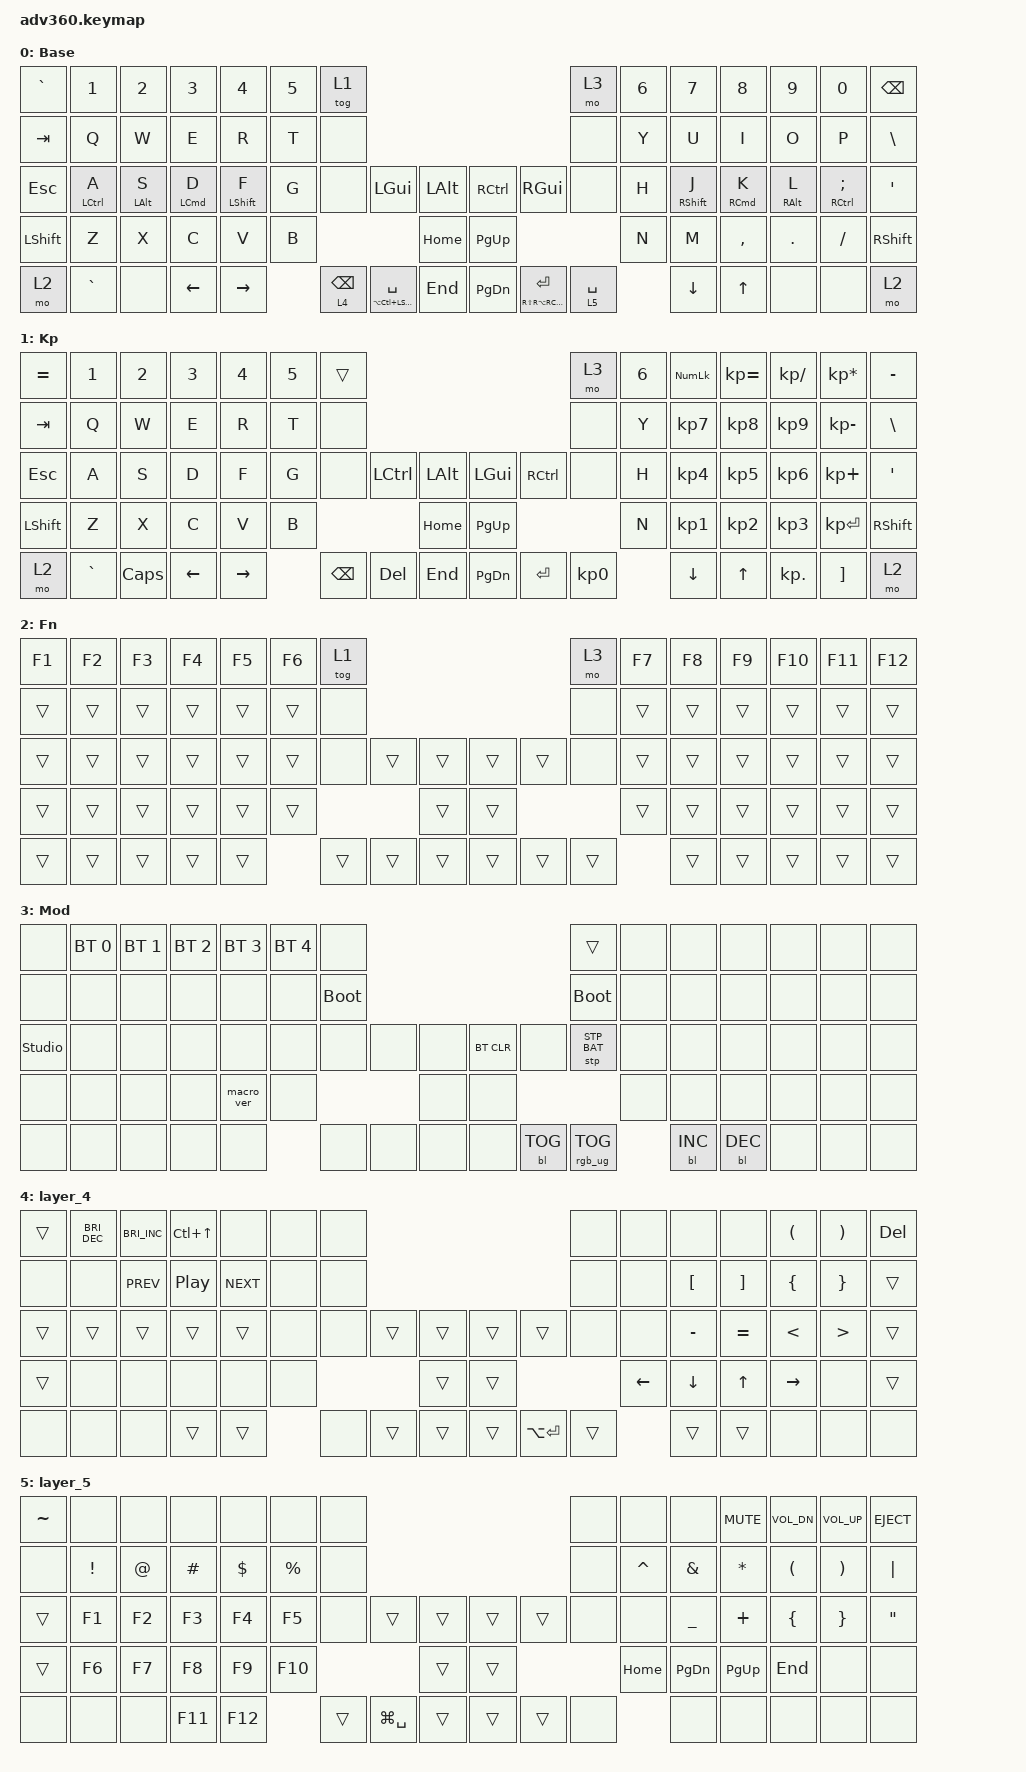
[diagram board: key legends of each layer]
#include <dt-bindings/zmk/stp.h>
#include <behaviors.dtsi>
#include <dt-bindings/zmk/backlight.h>
#include <dt-bindings/zmk/bt.h>
#include <dt-bindings/zmk/keys.h>
#include <dt-bindings/zmk/rgb.h>

/ {
    behaviors {
        #include "macros.dtsi"
      #include "version.dtsi"

        hm: homerow_mods {
            compatible = "zmk,behavior-hold-tap";
            label = "HOMEROW_MODS";
            #binding-cells = <2>;
            tapping-term-ms = <200>;
            quick_tap_ms = <175>;
            flavor = "tap-preferred";
            bindings = <&kp>, <&kp>;
        };
    };

    keymap {
        compatible = "zmk,keymap";

        default_layer {
            display-name = "Base";
            bindings = <
&kp GRAVE  &kp N1       &kp N2          &kp N3              &kp N4            &kp N5  &tog 1                                                                                                   &mo 3        &kp N6  &kp N7             &kp N8               &kp N9           &kp N0          &kp BACKSPACE
&kp TAB    &kp Q        &kp W           &kp E               &kp R             &kp T   &none                                                                                                    &none        &kp Y   &kp U              &kp I                &kp O            &kp P           &kp BSLH
&kp ESC    &hm LCTRL A  &hm LEFT_ALT S  &hm LEFT_COMMAND D  &hm LEFT_SHIFT F  &kp G   &none            &kp LGUI                      &kp LALT      &kp RCTRL  &kp RGUI                         &none        &kp H   &hm RIGHT_SHIFT J  &hm RIGHT_COMMAND K  &hm RIGHT_ALT L  &hm RCTRL SEMI  &kp SQT
&kp LSHFT  &kp Z        &kp X           &kp C               &kp V             &kp B                                                  &kp HOME      &kp PG_UP                                                &kp N   &kp M              &kp COMMA            &kp DOT          &kp FSLH        &kp RSHFT
&mo 2      &kp GRAVE    &none           &kp LEFT            &kp RIGHT                 &lt 4 BACKSPACE  &mt LA(LC(LEFT_SHIFT)) SPACE  &kp END       &kp PG_DN  &mt RS(RA(RC(RIGHT_GUI))) ENTER  &lt 5 SPACE          &kp DOWN           &kp UP_ARROW         &none            &none           &mo 2
            >;
        };

        keypad {
            display-name = "Kp";
            bindings = <
&kp EQUAL  &kp N1     &kp N2    &kp N3    &kp N4     &kp N5  &trans                                                   &mo 3      &kp N6  &kp KP_NUM  &kp KP_EQUAL  &kp KP_DIVIDE  &kp KP_MULTIPLY  &kp MINUS
&kp TAB    &kp Q      &kp W     &kp E     &kp R      &kp T   &none                                                    &none      &kp Y   &kp KP_N7   &kp KP_N8     &kp KP_N9      &kp KP_MINUS     &kp BSLH
&kp ESC    &kp A      &kp S     &kp D     &kp F      &kp G   &none     &kp LCTRL  &kp LALT      &kp LGUI   &kp RCTRL  &none      &kp H   &kp KP_N4   &kp KP_N5     &kp KP_N6      &kp KP_PLUS      &kp SQT
&kp LSHFT  &kp Z      &kp X     &kp C     &kp V      &kp B                        &kp HOME      &kp PG_UP                        &kp N   &kp KP_N1   &kp KP_N2     &kp KP_N3      &kp KP_ENTER     &kp RSHFT
&mo 2      &kp GRAVE  &kp CAPS  &kp LEFT  &kp RIGHT          &kp BSPC  &kp DEL    &kp END       &kp PG_DN  &kp ENTER  &kp KP_N0          &kp DOWN    &kp UP_ARROW  &kp KP_DOT     &kp RBKT         &mo 2
            >;
        };

        fn {
            display-name = "Fn";
            bindings = <
&kp F1  &kp F2  &kp F3  &kp F4  &kp F5  &kp F6  &tog 1                                      &mo 3   &kp F7  &kp F8  &kp F9  &kp F10  &kp F11  &kp F12
&trans  &trans  &trans  &trans  &trans  &trans  &none                                       &none   &trans  &trans  &trans  &trans   &trans   &trans
&trans  &trans  &trans  &trans  &trans  &trans  &none   &trans  &trans      &trans  &trans  &none   &trans  &trans  &trans  &trans   &trans   &trans
&trans  &trans  &trans  &trans  &trans  &trans                  &trans      &trans                  &trans  &trans  &trans  &trans   &trans   &trans
&trans  &trans  &trans  &trans  &trans          &trans  &trans  &trans      &trans  &trans  &trans          &trans  &trans  &trans   &trans   &trans
            >;
        };

        mod {
            display-name = "Mod";
            bindings = <
&none           &bt BT_SEL 0  &bt BT_SEL 1  &bt BT_SEL 2  &bt BT_SEL 3  &bt BT_SEL 4  &none                                                  &trans           &none  &none       &none       &none  &none  &none
&none           &none         &none         &none         &none         &none         &bootloader                                            &bootloader      &none  &none       &none       &none  &none  &none
&studio_unlock  &none         &none         &none         &none         &none         &none        &none  &none      &bt BT_CLR  &none       &stp STP_BAT     &none  &none       &none       &none  &none  &none
&none           &none         &none         &none         &macro_ver    &none                             &none      &none                                    &none  &none       &none       &none  &none  &none
&none           &none         &none         &none         &none                       &none        &none  &none      &none       &bl BL_TOG  &rgb_ug RGB_TOG         &bl BL_INC  &bl BL_DEC  &none  &none  &none
            >;
        };

        layer_4 {
            bindings = <
&trans  &kp C_BRI_DEC  &kp C_BRI_INC  &kp LC(UP_ARROW)  &none       &none  &none                                           &none   &none     &none             &none              &kp LPAR         &kp RPAR          &kp DEL
&none   &none          &kp C_PREV     &kp C_PLAY_PAUSE  &kp C_NEXT  &none  &none                                           &none   &none     &kp LEFT_BRACKET  &kp RIGHT_BRACKET  &kp LEFT_BRACE   &kp RIGHT_BRACE   &trans
&trans  &trans         &trans         &trans            &trans      &none  &none  &trans  &trans      &trans  &trans       &none   &none     &kp MINUS         &kp EQUAL          &kp LESS_THAN    &kp GREATER_THAN  &trans
&trans  &none          &none          &none             &none       &none                 &trans      &trans                       &kp LEFT  &kp DOWN          &kp UP_ARROW       &kp RIGHT_ARROW  &none             &trans
&none   &none          &none          &trans            &trans             &none  &trans  &trans      &trans  &kp LA(RET)  &trans            &trans            &trans             &none            &none             &none
            >;
        };

        layer_5 {
            bindings = <
&kp TILDE  &none     &none   &none     &none       &none        &none                                              &none  &none      &none          &kp C_MUTE   &kp C_VOL_DN    &kp C_VOLUME_UP  &kp K_EJECT
&none      &kp EXCL  &kp AT  &kp HASH  &kp DOLLAR  &kp PERCENT  &none                                              &none  &kp CARET  &kp AMPERSAND  &kp ASTRK    &kp LPAR        &kp RPAR         &kp PIPE
&trans     &kp F1    &kp F2  &kp F3    &kp F4      &kp F5       &none   &trans         &trans      &trans  &trans  &none  &none      &kp UNDER      &kp PLUS     &kp LEFT_BRACE  &kp RIGHT_BRACE  &kp DOUBLE_QUOTES
&trans     &kp F6    &kp F7  &kp F8    &kp F9      &kp F10                             &trans      &trans                 &kp HOME   &kp PAGE_DOWN  &kp PAGE_UP  &kp END         &none            &none
&none      &none     &none   &kp F11   &kp F12                  &trans  &kp LG(SPACE)  &trans      &trans  &trans  &none             &none          &none        &none           &none            &none
            >;
        };
    };
};
